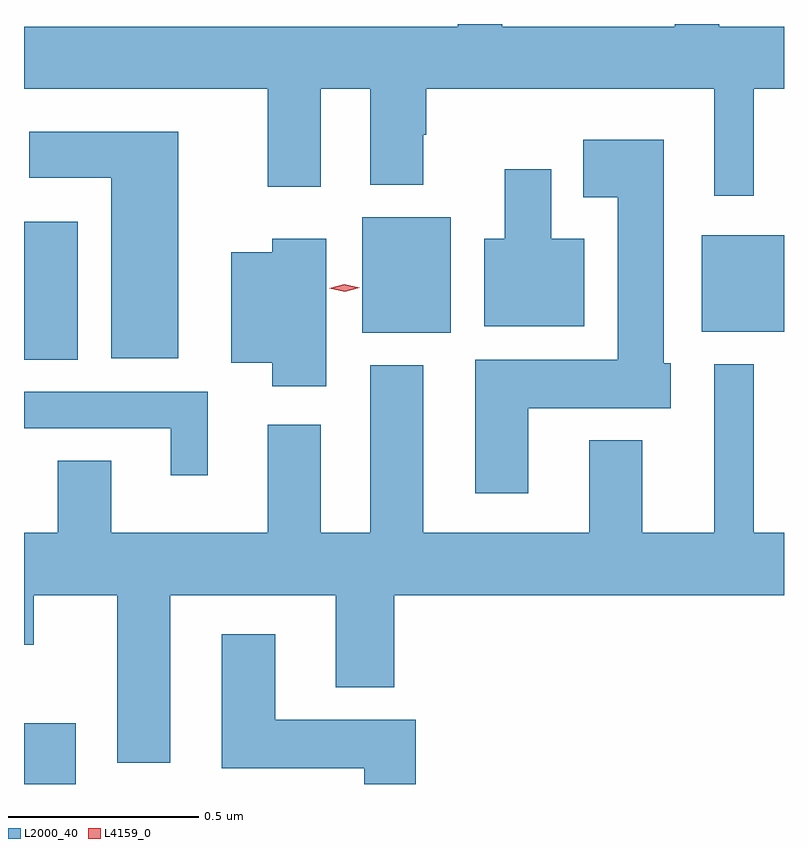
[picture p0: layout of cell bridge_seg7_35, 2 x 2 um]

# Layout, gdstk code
import gdstk
lib = gdstk.Library(unit=1e-6, precision=1e-09)
def R(c, l, rs):  # rectangles x0, y0, x1, y1
    for r in rs: c.add(gdstk.rectangle(r[:2], r[2:], *l))
def P(c, l, *ps):  # polygons
    for p in ps: c.add(gdstk.Polygon(p, *l))
L2000_40 = (2000, 40)
L4159_0 = (4159, 0)

bridge_seg7_35 = lib.new_cell('bridge_seg7_35')
R(bridge_seg7_35, L2000_40, [(970.326,1068.051,970.462,1068.211), (970.326,1069.168,970.468,1069.531), (971.216,1069.238,971.449,1069.543), (972.11,1069.241,972.326,1069.495)])
P(bridge_seg7_35, L2000_40, [(972.038,1070.051),(972.038,1070.044),(971.585,1070.044),(971.585,1070.051),(971.467,1070.051),(971.467,1070.044),(970.326,1070.044),(970.326,1069.88),(970.967,1069.88),(970.967,1069.623),(971.107,1069.623),(971.107,1069.88),(971.237,1069.88),(971.237,1069.628),(971.377,1069.628),(971.377,1069.76),(971.385,1069.76),(971.385,1069.88),(972.143,1069.88),(972.143,1069.599),(972.247,1069.599),(972.247,1069.88),(972.326,1069.88),(972.326,1070.044),(972.155,1070.044),(972.155,1070.051)],
  [(970.732,1069.768),(970.34,1069.768),(970.34,1069.646),(970.556,1069.646),(970.556,1069.172),(970.732,1069.172)],
  [(971.653,1069.04),(972.028,1069.04),(972.028,1069.158),(972.01,1069.158),(972.01,1069.747),(971.798,1069.747),(971.798,1069.595),(971.888,1069.595),(971.888,1069.168),(971.513,1069.168),(971.513,1068.816),(971.653,1068.816)],
  [(971.8,1069.486),(971.713,1069.486),(971.713,1069.669),(971.591,1069.669),(971.591,1069.486),(971.537,1069.486),(971.537,1069.256),(971.8,1069.256)],
  [(971.122,1069.486),(970.979,1069.486),(970.979,1069.45),(970.871,1069.45),(970.871,1069.16),(970.979,1069.16),(970.979,1069.098),(971.122,1069.098)],
  [(970.711,1068.548),(971.147,1068.548),(971.147,1068.305),(971.3,1068.305),(971.3,1068.548),(972.326,1068.548),(972.326,1068.712),(972.247,1068.712),(972.247,1069.156),(972.143,1069.156),(972.143,1068.712),(971.953,1068.712),(971.953,1068.955),(971.813,1068.955),(971.813,1068.712),(971.377,1068.712),(971.377,1069.153),(971.237,1069.153),(971.237,1068.712),(971.107,1068.712),(971.107,1068.997),(970.967,1068.997),(970.967,1068.712),(970.555,1068.712),(970.555,1068.902),(970.415,1068.902),(970.415,1068.712),(970.326,1068.712),(970.326,1068.417),(970.351,1068.417),(970.351,1068.548),(970.571,1068.548),(970.571,1068.107),(970.711,1068.107)],
  [(970.81,1069.083),(970.326,1069.083),(970.326,1068.987),(970.712,1068.987),(970.712,1068.864),(970.81,1068.864)],
  [(971.357,1068.22),(970.987,1068.22),(970.987,1068.445),(970.847,1068.445),(970.847,1068.092),(971.222,1068.092),(971.222,1068.051),(971.357,1068.051)])
P(bridge_seg7_35, L4159_0, [(971.17,1069.346),(971.129,1069.355),(971.129,1069.355),(971.129,1069.355),(971.169,1069.366),(971.21,1069.357),(971.21,1069.357),(971.21,1069.357)])

lib.write_gds('bridge_seg7_35.gds')
